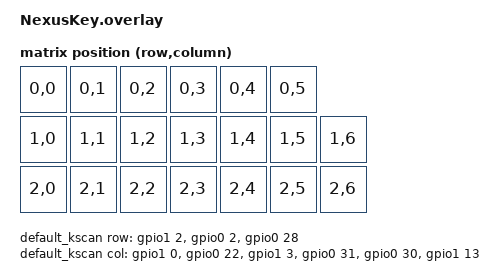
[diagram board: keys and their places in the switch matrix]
#include <dt-bindings/zmk/matrix_transform.h>

// Matrix Scan

/ {
    chosen
    {
        zmk,kscan = &default_kscan;
        zmk,matrix-transform = &default_transform;
    };

    default_kscan: kscan
    {
        compatible = "zmk,kscan-gpio-matrix";
        label = "default_kscan";
        diode-direction = "col2row";

        row-gpios 
            = <&gpio1 2 (GPIO_ACTIVE_HIGH | GPIO_PULL_DOWN)>   // P1.02
            , <&gpio0 2 (GPIO_ACTIVE_HIGH | GPIO_PULL_DOWN)>    // P0.02
            , <&gpio0 28 (GPIO_ACTIVE_HIGH | GPIO_PULL_DOWN)>    // P0.28
            ;

        col-gpios
            = <&gpio1 0 GPIO_ACTIVE_HIGH>  // P1.00
            , <&gpio0 22 GPIO_ACTIVE_HIGH>   // P0.22
            , <&gpio1 3 GPIO_ACTIVE_HIGH>   // P1.03
            , <&gpio0 31 GPIO_ACTIVE_HIGH>   // P0.31
            , <&gpio0 30 GPIO_ACTIVE_HIGH>   // P0.30
            , <&gpio1 13 GPIO_ACTIVE_HIGH>   // P1.13
            ;
    };

    default_transform: matrix_transform
    {
        compatible = "zmk,matrix-transform";
        rows = <3>;
        columns = <6>;

        map =
        <
            RC(0,0) RC(0,1) RC(0,2) RC(0,3) RC(0,4) RC(0,5)
            RC(1,0) RC(1,1) RC(1,2) RC(1,3) RC(1,4) RC(1,5) RC(1,6)
            RC(2,0) RC(2,1) RC(2,2) RC(2,3) RC(2,4) RC(2,5) RC(2,6)
        >;
    };
};

// Soff Off Behavior

/ {
// Device that activates after turning off keyboard.

    keys {
            compatible = "gpio-keys";
            soft_off_key: soft_off_key {
                gpios = <&gpio0 7 (GPIO_ACTIVE_HIGH | GPIO_PULL_DOWN)>; // P0.07 Soft Off
            };
        };

// Attach the keys device to wake up sources so it can turn on the keyboard.

    wakeup_source: wakeup_source {
        compatible = "zmk,gpio-key-wakeup-trigger";
        extra-gpios = <&gpio1 0 (GPIO_ACTIVE_HIGH)>, <&gpio0 30 (GPIO_ACTIVE_HIGH)>; // Enable columns pins for AND gate.
        trigger = <&soft_off_key>;
        wakeup-source;
    };

// Attach the wake up sources to the Soft Off.

    soft_off_wakers {
            compatible = "zmk,soft-off-wakeup-sources";
            wakeup-sources = <&wakeup_source>;
    };

// Init Soft Off behavior when keyboard's off.

    behaviors {
            hw_soft_off: hw_soft_off {
                    compatible = "zmk,behavior-soft-off";
                    #binding-cells = <0>;
                    hold-time-ms = <3000>; // Only turn on if the key is held for 2 seconds or longer.
            };
    };
};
